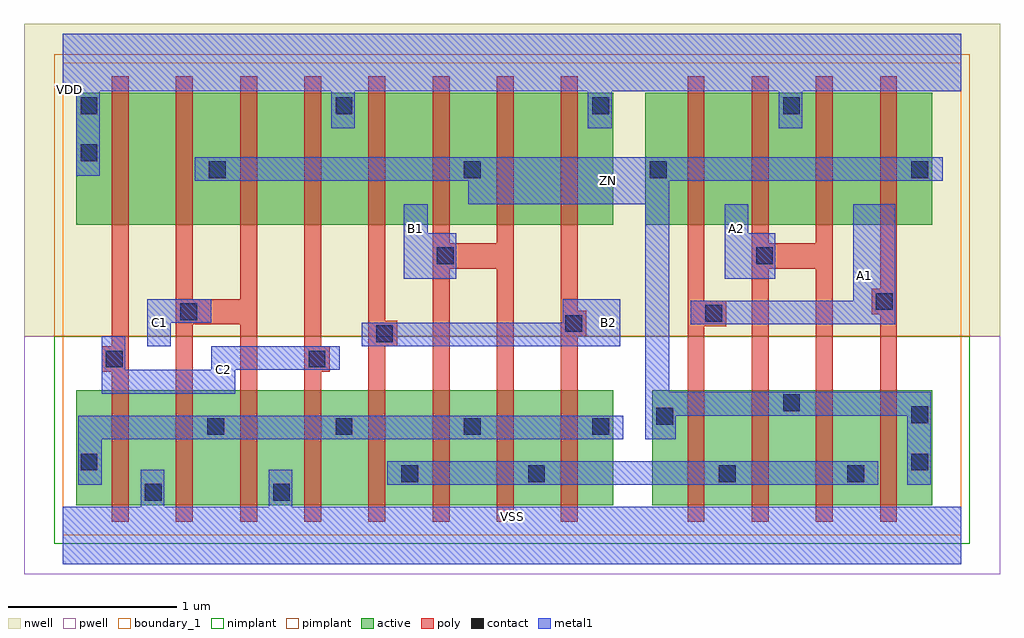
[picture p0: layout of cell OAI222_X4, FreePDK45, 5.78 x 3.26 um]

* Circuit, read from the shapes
.subckt OAI222_X4 A1 A2 B1 B2 C1 C2 VDD VSS ZN
M1 VSS C2 n1 VSUBS nfet w=0.68u l=0.1u m=2
M2 n1 C1 VSS VSUBS nfet w=0.68u l=0.1u m=2
M3 n2 B2 n1 VSUBS nfet w=0.68u l=0.1u m=2
M4 n1 B1 n2 VSUBS nfet w=0.68u l=0.1u m=2
M5 n2 A1 ZN VSUBS nfet w=0.68u l=0.1u m=2
M6 ZN A2 n2 VSUBS nfet w=0.68u l=0.1u m=2
M7 n3 C2 VDD n4 pfet w=0.78u l=0.1u
M8 ZN C1 n3 n4 pfet w=0.78u l=0.1u
M9 n5 C1 ZN n4 pfet w=0.78u l=0.1u
M10 VDD C2 n5 n4 pfet w=0.78u l=0.1u
M11 n6 B2 VDD n4 pfet w=0.78u l=0.1u
M12 ZN B1 n6 n4 pfet w=0.78u l=0.1u
M13 n7 B1 ZN n4 pfet w=0.78u l=0.1u
M14 VDD B2 n7 n4 pfet w=0.78u l=0.1u
M15 n8 A1 ZN n4 pfet w=0.78u l=0.1u
M16 VDD A2 n8 n4 pfet w=0.78u l=0.1u
M17 n9 A2 VDD n4 pfet w=0.78u l=0.1u
M18 ZN A1 n9 n4 pfet w=0.78u l=0.1u
.ends

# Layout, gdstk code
import gdstk
lib = gdstk.Library(unit=1e-6, precision=1e-09)
def R(c, l, rs):  # rectangles x0, y0, x1, y1
    for r in rs: c.add(gdstk.rectangle(r[:2], r[2:], *l))
def A(c, l, x, y, w, h, nx, ny, dx, dy):  # array of equal rectangles
    R(c, l, [(x+i*dx, y+j*dy, x+i*dx+w, y+j*dy+h) for i in range(nx) for j in range(ny)])
def P(c, l, *ps):  # polygons
    for p in ps: c.add(gdstk.Polygon(p, *l))
active = (1, 0)
pwell = (2, 0)
nwell = (3, 0)
nimplant = (4, 0)
pimplant = (5, 0)
poly = (9, 0)
contact = (10, 0)
metal1 = (11, 0)
boundary_1 = (235, 1)

oai222_x4 = lib.new_cell('OAI222_X4')
R(oai222_x4, active, [(0.08,0.18,3.26,0.86), (3.49,0.18,5.15,0.86), (0.08,1.84,3.26,2.62), (3.45,1.84,5.15,2.62)])
R(oai222_x4, pwell, [(-0.23,-0.23,5.55,1.18)])
R(oai222_x4, nwell, [(-0.23,1.18,5.55,3.03)])
R(oai222_x4, nimplant, [(-0.05,-0.05,5.37,1.18)])
R(oai222_x4, pimplant, [(-0.05,1.18,5.37,2.85)])
P(oai222_x4, poly, [(4.79,1.31),(4.84,1.31),(4.84,0.08),(4.94,0.08),(4.94,2.72),(4.84,2.72),(4.84,1.46),(4.79,1.46)],
  [(4.08,0.08),(4.18,0.08),(4.18,1.58),(4.46,1.58),(4.46,0.08),(4.56,0.08),(4.56,2.72),(4.46,2.72),(4.46,1.73),(4.18,1.73),(4.18,2.72),(4.08,2.72)],
  [(3.7,0.08),(3.8,0.08),(3.8,1.24),(3.93,1.24),(3.93,1.39),(3.8,1.39),(3.8,2.72),(3.7,2.72)],
  [(2.95,0.08),(3.05,0.08),(3.05,1.18),(3.1,1.18),(3.1,1.33),(3.05,1.33),(3.05,2.72),(2.95,2.72)],
  [(2.19,0.08),(2.29,0.08),(2.29,1.58),(2.57,1.58),(2.57,0.08),(2.67,0.08),(2.67,2.72),(2.57,2.72),(2.57,1.73),(2.29,1.73),(2.29,2.72),(2.19,2.72)],
  [(1.81,0.08),(1.91,0.08),(1.91,1.12),(1.98,1.12),(1.98,1.27),(1.91,1.27),(1.91,2.72),(1.81,2.72)],
  [(1.43,0.08),(1.53,0.08),(1.53,0.97),(1.58,0.97),(1.58,1.12),(1.53,1.12),(1.53,2.72),(1.43,2.72)],
  [(0.67,0.08),(0.77,0.08),(0.77,1.25),(1.05,1.25),(1.05,0.08),(1.15,0.08),(1.15,2.72),(1.05,2.72),(1.05,1.4),(0.77,1.4),(0.77,2.72),(0.67,2.72)],
  [(0.23,0.97),(0.29,0.97),(0.29,0.08),(0.39,0.08),(0.39,2.72),(0.29,2.72),(0.29,1.12),(0.23,1.12)])
A(oai222_x4, contact, 0.855, 0.595, 0.1, 0.1, 4, 1, 0.76, 0)
R(oai222_x4, contact, [(0.485,0.205,0.585,0.305), (1.245,0.205,1.345,0.305), (2.005,0.315,2.105,0.415), (2.755,0.315,2.855,0.415), (3.885,0.315,3.985,0.415), (4.645,0.315,4.745,0.415), (0.105,0.385,0.205,0.485), (5.025,0.385,5.125,0.485), (3.515,0.655,3.615,0.755), (5.025,0.665,5.125,0.765), (4.265,0.735,4.365,0.835), (0.255,0.995,0.355,1.095), (1.455,0.995,1.555,1.095), (1.855,1.145,1.955,1.245), (2.975,1.205,3.075,1.305), (3.805,1.265,3.905,1.365), (0.695,1.275,0.795,1.375), (4.815,1.335,4.915,1.435), (2.215,1.605,2.315,1.705), (4.105,1.605,4.205,1.705), (0.865,2.115,0.965,2.215), (2.375,2.115,2.475,2.215), (3.475,2.115,3.575,2.215), (5.025,2.115,5.125,2.215), (0.105,2.215,0.205,2.315), (0.105,2.495,0.205,2.595), (1.615,2.495,1.715,2.595), (3.135,2.495,3.235,2.595), (4.265,2.495,4.365,2.595)])
R(oai222_x4, metal1, [(1.92,0.3,4.83,0.44)])
P(oai222_x4, metal1, [(0.23,0.84),(1.02,0.84),(1.02,0.98),(1.64,0.98),(1.64,1.12),(0.88,1.12),(0.88,0.98),(0.37,0.98),(0.37,1.18),(0.23,1.18)],
  [(1.77,1.12),(3.3,1.12),(3.3,1.4),(2.96,1.4),(2.96,1.26),(1.77,1.26)],
  [(0,-0.17),(5.32,-0.17),(5.32,0.17),(1.36,0.17),(1.36,0.39),(1.22,0.39),(1.22,0.17),(0.6,0.17),(0.6,0.39),(0.46,0.39),(0.46,0.17),(0,0.17)],
  [(0.5,1.12),(0.64,1.12),(0.64,1.26),(0.88,1.26),(0.88,1.4),(0.5,1.4)],
  [(3.59,2.1),(5.21,2.1),(5.21,2.24),(0.78,2.24),(0.78,2.1),(2.4,2.1),(2.4,1.96),(3.45,1.96),(3.45,0.57),(3.63,0.57),(3.63,0.71),(5,0.71),(5,0.3),(5.14,0.3),(5.14,0.85),(3.59,0.85)],
  [(3.92,1.52),(4.22,1.52),(4.22,1.79),(4.06,1.79),(4.06,1.96),(3.92,1.96)],
  [(3.72,1.25),(4.93,1.25),(4.93,1.96),(4.68,1.96),(4.68,1.39),(3.72,1.39)],
  [(2.02,1.52),(2.33,1.52),(2.33,1.79),(2.16,1.79),(2.16,1.96),(2.02,1.96)],
  [(0,2.63),(0.08,2.63),(0.08,2.13),(0.22,2.13),(0.22,2.63),(1.59,2.63),(1.59,2.41),(1.73,2.41),(1.73,2.63),(3.11,2.63),(3.11,2.41),(3.25,2.41),(3.25,2.63),(4.24,2.63),(4.24,2.41),(4.38,2.41),(4.38,2.63),(5.32,2.63),(5.32,2.97),(0,2.97)],
  [(0,2.63),(0.08,2.63),(0.08,2.13),(0.22,2.13),(0.22,2.63),(1.59,2.63),(1.59,2.41),(1.73,2.41),(1.73,2.63),(3.11,2.63),(3.11,2.41),(3.25,2.41),(3.25,2.63),(4.24,2.63),(4.24,2.41),(4.38,2.41),(4.38,2.63),(5.32,2.63),(5.32,2.97),(0,2.97)],
  [(0,-0.17),(5.32,-0.17),(5.32,0.17),(1.36,0.17),(1.36,0.39),(1.22,0.39),(1.22,0.17),(0.6,0.17),(0.6,0.39),(0.46,0.39),(0.46,0.17),(0,0.17)],
  [(3.59,2.1),(5.21,2.1),(5.21,2.24),(0.78,2.24),(0.78,2.1),(2.4,2.1),(2.4,1.96),(3.45,1.96),(3.45,0.57),(3.63,0.57),(3.63,0.71),(5,0.71),(5,0.3),(5.14,0.3),(5.14,0.85),(3.59,0.85)],
  [(3.72,1.25),(4.93,1.25),(4.93,1.96),(4.68,1.96),(4.68,1.39),(3.72,1.39)],
  [(3.92,1.52),(4.22,1.52),(4.22,1.79),(4.06,1.79),(4.06,1.96),(3.92,1.96)],
  [(0.09,0.3),(0.23,0.3),(0.23,0.57),(3.32,0.57),(3.32,0.71),(0.09,0.71)],
  [(1.77,1.12),(3.3,1.12),(3.3,1.4),(2.96,1.4),(2.96,1.26),(1.77,1.26)],
  [(2.02,1.52),(2.33,1.52),(2.33,1.79),(2.16,1.79),(2.16,1.96),(2.02,1.96)],
  [(0.23,0.84),(1.02,0.84),(1.02,0.98),(1.64,0.98),(1.64,1.12),(0.88,1.12),(0.88,0.98),(0.37,0.98),(0.37,1.18),(0.23,1.18)],
  [(0.5,1.12),(0.64,1.12),(0.64,1.26),(0.88,1.26),(0.88,1.4),(0.5,1.4)])
R(oai222_x4, boundary_1, [(0,0,5.32,2.8)])
oai222_x4.add(gdstk.Label('ZN', (3.23,2.1), layer=11, texttype=0))
oai222_x4.add(gdstk.Label('VSS', (2.66,0.11), layer=11, texttype=0))
oai222_x4.add(gdstk.Label('VDD', (0.04,2.64), layer=11, texttype=0))
oai222_x4.add(gdstk.Label('C2', (0.95,0.98), layer=11, texttype=0))
oai222_x4.add(gdstk.Label('C1', (0.57,1.26), layer=11, texttype=0))
oai222_x4.add(gdstk.Label('B2', (3.23,1.26), layer=11, texttype=0))
oai222_x4.add(gdstk.Label('B1', (2.09,1.82), layer=11, texttype=0))
oai222_x4.add(gdstk.Label('A2', (3.99,1.82), layer=11, texttype=0))
oai222_x4.add(gdstk.Label('A1', (4.75,1.54), layer=11, texttype=0))

lib.write_gds('OAI222_X4.gds')
